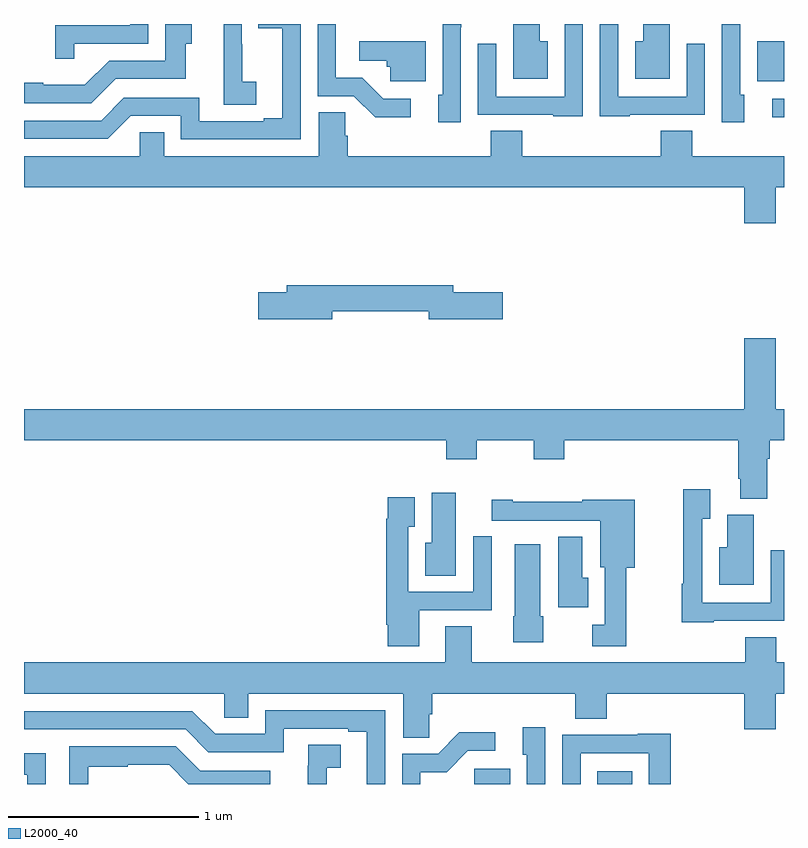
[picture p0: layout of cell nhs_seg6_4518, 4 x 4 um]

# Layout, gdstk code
import gdstk
lib = gdstk.Library(unit=1e-6, precision=1e-09)
def R(c, l, rs):  # rectangles x0, y0, x1, y1
    for r in rs: c.add(gdstk.rectangle(r[:2], r[2:], *l))
def P(c, l, *ps):  # polygons
    for p in ps: c.add(gdstk.Polygon(p, *l))
L2000_40 = (2000, 40)

nhs_seg6_4518 = lib.new_cell('nhs_seg6_4518')
R(nhs_seg6_4518, L2000_40, [(379.371,973.5,379.558,973.581), (380.018,973.5,380.2,973.567), (380.937,977.009,381,977.106), (380.858,977.199,381,977.41)])
P(nhs_seg6_4518, L2000_40, [(380.398,977.5),(380.258,977.5),(380.258,977.41),(380.216,977.41),(380.216,977.213),(380.398,977.213)],
  [(379.036,977.106),(378.891,977.106),(378.78,977.217),(378.642,977.217),(378.642,977.5),(378.546,977.5),(378.546,977.121),(378.735,977.121),(378.848,977.009),(379.036,977.009)],
  [(378.223,977.196),(378.149,977.196),(378.149,977.393),(378.147,977.393),(378.147,977.5),(378.05,977.5),(378.05,977.185),(378.052,977.185),(378.052,977.074),(378.223,977.074)],
  [(377.265,977.397),(377.655,977.397),(377.655,977.5),(377.559,977.5),(377.559,977.493),(377.164,977.493),(377.164,977.316),(377.265,977.316)],
  [(380.187,977.022),(380.583,977.022),(380.583,977.395),(380.487,977.395),(380.487,977.118),(380.127,977.118),(380.127,977.5),(380.031,977.5),(380.031,977.015),(380.187,977.015)],
  [(380.791,977.127),(380.769,977.127),(380.769,977.5),(380.672,977.5),(380.672,977.482),(380.673,977.482),(380.673,976.983),(380.791,976.983)],
  [(379.299,977.482),(379.301,977.482),(379.301,977.5),(379.203,977.5),(379.203,977.127),(379.181,977.127),(379.181,976.983),(379.299,976.983)],
  [(378.456,977.5),(378.232,977.5),(378.232,977.478),(378.359,977.478),(378.359,977.004),(378.263,977.004),(378.263,976.989),(377.922,976.989),(377.922,977.112),(377.526,977.112),(377.406,976.992),(377,976.992),(377,976.896),(377.442,976.896),(377.562,977.016),(377.826,977.016),(377.826,976.893),(378.456,976.893)],
  [(379.941,977.5),(379.845,977.5),(379.845,977.118),(379.485,977.118),(379.485,977.395),(379.389,977.395),(379.389,977.022),(379.785,977.022),(379.785,977.015),(379.941,977.015)],
  [(379.756,977.41),(379.714,977.41),(379.714,977.5),(379.574,977.5),(379.574,977.213),(379.756,977.213)],
  [(377.484,977.211),(377.851,977.211),(377.851,977.395),(377.884,977.395),(377.884,977.498),(377.744,977.498),(377.744,977.307),(377.448,977.307),(377.32,977.179),(377.102,977.179),(377.102,977.191),(377,977.191),(377,977.082),(377.355,977.082)],
  [(379.114,977.41),(378.765,977.41),(378.765,977.306),(378.908,977.306),(378.908,977.274),(378.927,977.274),(378.927,977.199),(379.114,977.199)],
  [(380.956,976.64),(381,976.64),(381,976.804),(380.516,976.804),(380.516,976.937),(380.351,976.937),(380.351,976.804),(379.622,976.804),(379.622,976.937),(379.457,976.937),(379.457,976.804),(378.704,976.804),(378.704,976.913),(378.69,976.913),(378.69,977.036),(378.551,977.036),(378.551,976.804),(377.737,976.804),(377.737,976.931),(377.61,976.931),(377.61,976.804),(377,976.804),(377,976.64),(380.792,976.64),(380.792,976.452),(380.956,976.452)],
  [(378.622,975.988),(379.13,975.988),(379.13,975.946),(379.519,975.946),(379.519,976.088),(379.258,976.088),(379.258,976.124),(378.383,976.124),(378.383,976.088),(378.234,976.088),(378.234,975.946),(378.622,975.946)],
  [(380.911,975.212),(380.924,975.212),(380.924,975.308),(381,975.308),(381,975.472),(380.956,975.472),(380.956,975.847),(380.792,975.847),(380.792,975.472),(377,975.472),(377,975.308),(379.223,975.308),(379.223,975.209),(379.383,975.209),(379.383,975.308),(379.684,975.308),(379.684,975.209),(379.844,975.209),(379.844,975.308),(380.759,975.308),(380.759,975.106),(380.771,975.106),(380.771,975.001),(380.911,975.001)],
  [(380.631,974.358),(381,974.358),(381,974.731),(380.931,974.731),(380.931,974.454),(380.571,974.454),(380.571,974.896),(380.611,974.896),(380.611,975.052),(380.47,975.052),(380.47,974.555),(380.463,974.555),(380.463,974.351),(380.631,974.351)],
  [(379.273,975.034),(379.145,975.034),(379.145,974.77),(379.112,974.77),(379.112,974.596),(379.273,974.596)],
  [(379.081,974.415),(379.461,974.415),(379.461,974.805),(379.365,974.805),(379.365,974.511),(379.023,974.511),(379.023,974.854),(379.057,974.854),(379.057,975.01),(378.915,975.01),(378.915,974.897),(378.907,974.897),(378.907,974.338),(378.914,974.338),(378.914,974.226),(379.081,974.226)],
  [(380.171,974.639),(380.215,974.639),(380.215,974.995),(379.937,974.995),(379.937,974.985),(379.573,974.985),(379.573,974.995),(379.461,974.995),(379.461,974.886),(380.033,974.886),(380.033,974.64),(380.057,974.64),(380.057,974.338),(379.992,974.338),(379.992,974.225),(380.171,974.225)],
  [(380.842,974.916),(380.702,974.916),(380.702,974.746),(380.66,974.746),(380.66,974.549),(380.842,974.549)],
  [(379.969,974.586),(379.939,974.586),(379.939,974.801),(379.811,974.801),(379.811,974.43),(379.969,974.43)],
  [(379.732,974.382),(379.717,974.382),(379.717,974.761),(379.583,974.761),(379.583,974.382),(379.574,974.382),(379.574,974.246),(379.732,974.246)],
  [(379.134,973.867),(379.148,973.867),(379.148,973.976),(379.901,973.976),(379.901,973.843),(380.066,973.843),(380.066,973.976),(380.792,973.976),(380.792,973.788),(380.956,973.788),(380.956,973.976),(381,973.976),(381,974.14),(380.96,974.14),(380.96,974.273),(380.795,974.273),(380.795,974.14),(379.357,974.14),(379.357,974.33),(379.217,974.33),(379.217,974.14),(377,974.14),(377,973.976),(378.054,973.976),(378.054,973.849),(378.181,973.849),(378.181,973.976),(378.995,973.976),(378.995,973.744),(379.134,973.744)],
  [(378.9,973.887),(378.27,973.887),(378.27,973.764),(378.006,973.764),(377.886,973.884),(377,973.884),(377,973.788),(377.85,973.788),(377.97,973.668),(378.366,973.668),(378.366,973.791),(378.707,973.791),(378.707,973.776),(378.803,973.776),(378.803,973.5),(378.9,973.5)],
  [(379.743,973.798),(379.625,973.798),(379.625,973.653),(379.647,973.653),(379.647,973.5),(379.743,973.5)],
  [(379.086,973.563),(379.224,973.563),(379.335,973.674),(379.48,973.674),(379.48,973.772),(379.292,973.772),(379.179,973.659),(378.99,973.659),(378.99,973.5),(379.086,973.5)],
  [(379.929,973.662),(380.289,973.662),(380.289,973.5),(380.405,973.5),(380.405,973.765),(380.229,973.765),(380.229,973.758),(379.833,973.758),(379.833,973.5),(379.929,973.5)],
  [(378.593,973.585),(378.667,973.585),(378.667,973.706),(378.496,973.706),(378.496,973.595),(378.494,973.595),(378.494,973.5),(378.593,973.5)],
  [(377.339,973.59),(377.546,973.59),(377.546,973.601),(377.764,973.601),(377.865,973.5),(378.295,973.5),(378.295,973.569),(377.928,973.569),(377.799,973.698),(377.238,973.698),(377.238,973.5),(377.339,973.5)],
  [(377.115,973.663),(377,973.663),(377,973.55),(377.018,973.55),(377.018,973.5),(377.115,973.5)])

lib.write_gds('nhs_seg6_4518.gds')
